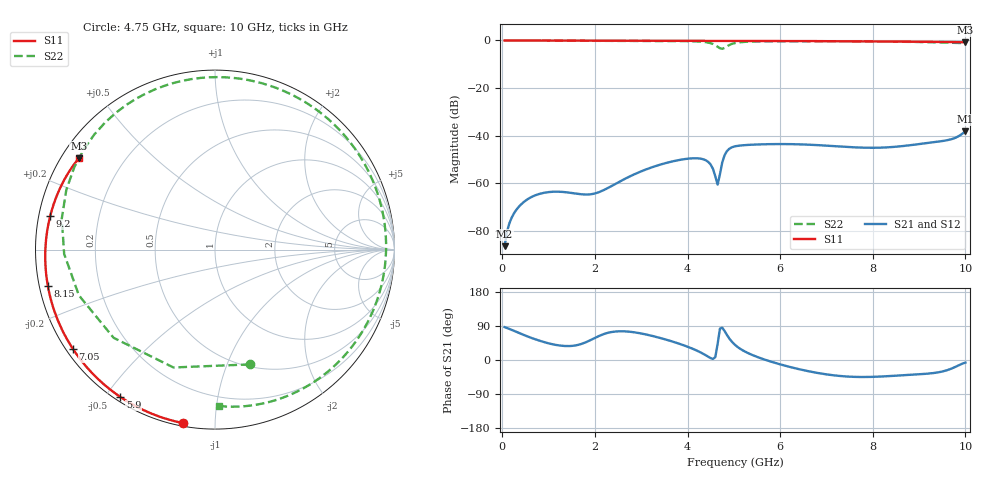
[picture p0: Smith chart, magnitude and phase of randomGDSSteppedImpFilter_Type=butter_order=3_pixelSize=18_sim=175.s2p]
! freq	dB(S11)	phase(S11)	dB(S12)	phase(S12)
!  dB(S21)	phase(S21)	dB(S22)	phase(S22)
!S-par simulation data
#  GHz  S  DB  R 50
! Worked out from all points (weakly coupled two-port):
!   200 points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, 50 MHz to 10 GHz, reference 50 ohm
!   highest |S21| = -38.15 dB at 10 GHz (marker M1); lowest = -86.5 dB at 50 MHz (marker M2)
!   lowest |S11| = -0.8 dB at 10 GHz (marker M3), VSWR 22.18, Z = 2.46 + j15.2 ohm
!   |S11| at or under -10 dB: nowhere
!   |S22| runs from -3.5 to 0.0 dB; largest |S21 - S12| = 0
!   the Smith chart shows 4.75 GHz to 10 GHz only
!   S11 on the Smith chart (normalised r, x): 4.75 GHz: 0.01, -0.83; 5.9 GHz: 0.02, -0.55; 7.05 GHz: 0.02, -0.31; 8.15 GHz: 0.02, -0.11; 9.2 GHz: 0.03, +0.10; 10 GHz: 0.05, +0.30
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0.05  -0.00 -1.1  -86.50 86.8  -86.50 86.8  -0.00 -4.3
0.4  -0.01 -9.0  -69.06 69.4  -69.06 69.4  -0.05 -33.3
0.85  -0.02 -19.1  -64.28 49.2  -64.28 49.2  -0.08 -68.1
1.75  -0.05 -38.9  -64.75 44.2  -64.75 44.2  -0.12 -126.0
2.55  -0.07 -56.0  -59.19 75.9  -59.19 75.9  -0.15 -167.2
3.4  -0.10 -73.6  -52.28 58.5  -52.28 58.5  -0.19 152.2
4  -0.12 -85.7  -49.73 35.1  -49.73 35.1  -0.30 118.1
4.4  -0.13 -93.6  -50.44 12.1  -50.44 12.1  -0.74 76.8
4.55  -0.14 -96.5  -54.02 2.9  -54.02 2.9  -1.50 41.5
4.65  -0.15 -98.5  -60.62 42.6  -60.62 42.6  -2.64 -2.9
4.75  -0.15 -100.4  -51.26 85.1  -51.26 85.1  -3.50 -73.2
4.8  -0.15 -101.4  -48.27 76.5  -48.27 76.5  -3.14 -109.4
4.9  -0.16 -103.4  -45.57 57.1  -45.57 57.1  -1.94 -161.5
5.05  -0.16 -106.3  -44.42 37.4  -44.42 37.4  -0.99 158.1
5.35  -0.18 -112.1  -43.87 15.8  -43.87 15.8  -0.49 121.6
5.9  -0.21 -122.7  -43.57 -8.0  -43.57 -8.0  -0.34 86.6
6.7  -0.27 -138.2  -43.90 -31.8  -43.90 -31.8  -0.33 48.9
7.05  -0.30 -145.0  -44.29 -38.8  -44.29 -38.8  -0.35 33.8
8.15  -0.42 -167.6  -45.09 -43.8  -45.09 -43.8  -0.46 -11.5
8.35  -0.44 -171.9  -44.91 -42.5  -44.91 -42.5  -0.49 -19.5
9.2  -0.57 168.4  -43.07 -35.9  -43.07 -35.9  -0.72 -53.5
10  -0.78 146.2  -38.15 -6.8  -38.15 -6.8  -1.19 -88.4
